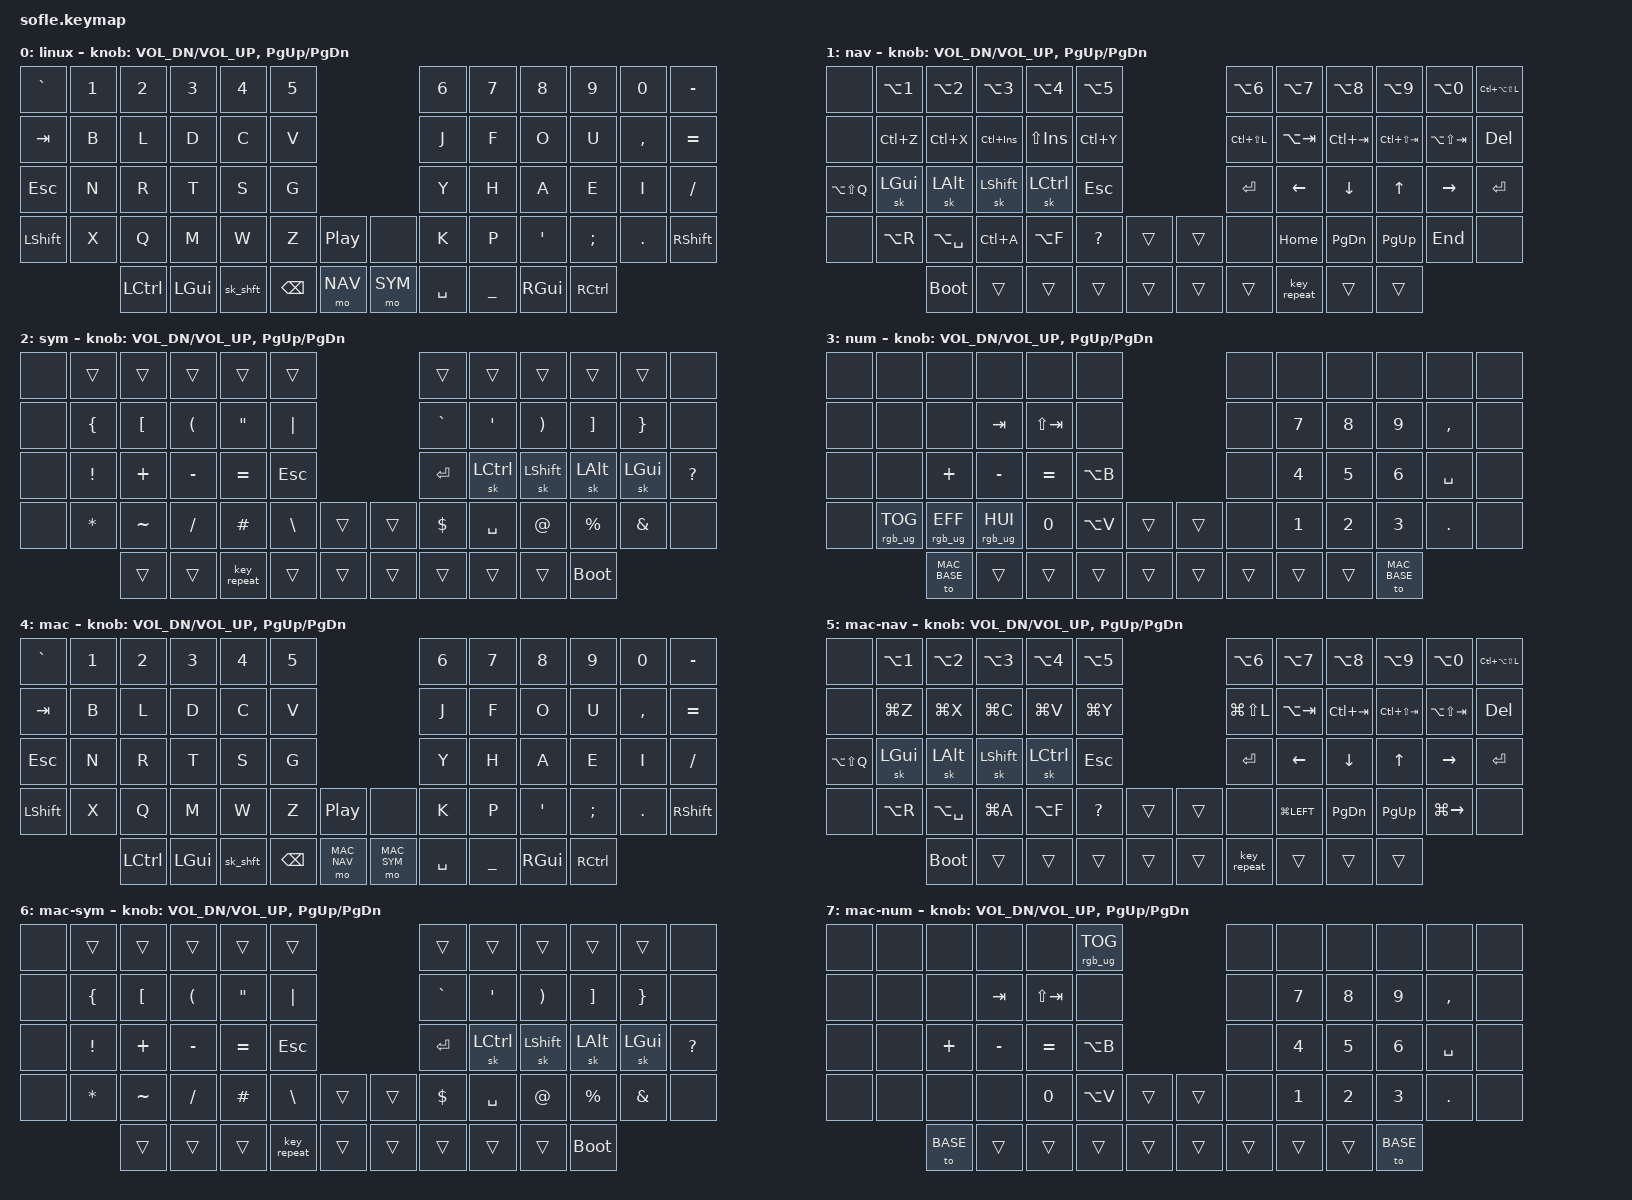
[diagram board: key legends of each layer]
/*
 * Copyright (c) 2020 The ZMK Contributors
 *
 * SPDX-License-Identifier: MIT
 */

#include <behaviors.dtsi>
#include <dt-bindings/zmk/keys.h>
#include <dt-bindings/zmk/bt.h>
#include <dt-bindings/zmk/rgb.h>
#include <dt-bindings/zmk/outputs.h>
#include <dt-bindings/zmk/ext_power.h>
#include <dt-bindings/zmk/backlight.h>
#include "zmk-helpers/key-labels/sofle.h"
#include "zmk-helpers/helper.h"

#define BASE 0
#define NAV 1
#define SYM 2
#define NUM 3
#define MAC_BASE 4
#define MAC_NAV 5
#define MAC_SYM 6
#define MAC_NUM 7

/*
  ╭────────────────────────────┬────────────────────────────╮ ╭─────────────────────────────┬─────────────────────────────╮
  │  0   1   2   3   4   5     │      6   7   8   9  10  11 │ │ LN5 LN4 LN3 LN2 LN1 LN0     │     RN0 RN1 RN2 RN3 RN4 RN5 │
  │ 12  13  14  15  16  17     │     18  19  20  21  22  23 │ │ LT5 LT4 LT3 LT2 LT1 LT0     │     RT0 RT1 RT2 RT3 RT4 RT5 │
  │ 24  25  26  27  28  29     │     30  31  32  33  34  35 │ │ LM5 LM4 LM3 LM2 LM1 LM0     │     RM0 RM1 RM2 RM3 RM4 RM5 │
  │ 36  37  38  39  40  41  42 │ 43  44  45  46  47  48  49 │ │ LB5 LB4 LB3 LB2 LB1 LB0 LEC │ REC RB0 RB1 RB2 RB3 RB4 RB5 │
  ╰───────╮ 50  51  52  53  54 │ 55  56  57  58  59 ╭───────╯ ╰───────╮ LH4 LH3 LH2 LH1 LH0 │ RH0 RH1 RH2 RH3 RH4 ╭───────╯
          ╰────────────────────┴────────────────────╯                 ╰─────────────────────┴─────────────────────╯         */


#define KEYS_L LN0 LN1 LN2 LN3 LN4 LN5 LT0 LT1 LT2 LT3 LT4 LT5 LM0 LM1 LM2 LM3 LM4 LM5 LB0 LB1 LB2 LB3 LB4 LB5 
#define KEYS_R RN0 RN1 RN2 RN3 RN4 RN5 RT1 RT1 RT2 RT3 RT4 RT5 RM0 RM1 RM2 RM3 RM4 RM5 RB0 RB1 RB2 RB3 RB4 RB5 
#define KEYS_THUMBS LH0 LH1 LH2 LH3 LH4 RH0 RH1 RH2 RH3 RH4 

&lt {
    tapping-term-ms = <200>;
    quick-tap-ms = <200>;
};

// Sticky key
&sk {
    release-after-ms = <3000>; // Default is at 1s.
    // Releasing the stiky key as soon as another key is pressed (instead of released). This
    // prevents having multiple letters capitalised in case of a fast roll for instance.
    quick-release;  
    // This is activated by default. The stiky behavior continues when a modifier key is
    // pressed. Allows to combine modifiers (a la Callum mods).
    ignore-modifiers;  
};

// Sticky layer
&sl {
    release-after-ms = <1000>;  // Default is at 1s.
};

#define COMBO_TIMEOUT 15
/ {
    combos {
        compatible = "zmk,combos";
        // Enter / escape
        combo_return_left_hand {
            timeout-ms = <COMBO_TIMEOUT>;
            key-positions = <LM0 LM1>;  // S + G on Gallium
            bindings = <&kp RET>;
        };
        combo_esc {
            timeout-ms = <COMBO_TIMEOUT>;
            key-positions = <LM1 LM2>;  // T + S on Gallium
            bindings = <&kp ESC>;
        };
    };
};

/ {
    macros {
    };
};

/ {
    conditional_layers {
        compatible = "zmk,conditional-layers";
        // Enabling the NUM layer via tri-layer functionality.
        // This allows a seamless navigation between the NAV, SYM and NUM layers.
        num_layer {
            if-layers = <NAV SYM>;
            then-layer = <NUM>;
        };
        // The MAC equivalent
        mac_num_layer {
            if-layers = <MAC_NAV MAC_SYM>;
            then-layer = <MAC_NUM>;
        };
    };
};

/ {
    
    behaviors {
        hml: home_row_mod_left {
            compatible = "zmk,behavior-hold-tap";
            #binding-cells = <2>;
            flavor = "balanced";
            tapping-term-ms = <280>;
            quick-tap-ms = <175>;
            require-prior-idle-ms = <150>;
            bindings = <&kp>, <&kp>;
            hold-trigger-key-positions = <KEYS_R KEYS_THUMBS>;
            hold-trigger-on-release;
        };

        hmr: home_row_mod_right {
            compatible = "zmk,behavior-hold-tap";
            #binding-cells = <2>;
            flavor = "balanced";
            tapping-term-ms = <280>;
            quick-tap-ms = <175>;
            require-prior-idle-ms = <150>;
            bindings = <&kp>, <&kp>;
            hold-trigger-key-positions = <KEYS_L KEYS_THUMBS>;
            hold-trigger-on-release;
        };

        sk_shft: shift_into_caps_word {
            compatible = "zmk,behavior-tap-dance";
            #binding-cells = <0>;
            tapping-term-ms = <200>;
            bindings = <&sk LSHFT>, <&caps_word>;
        };

        paren: lparen_into_rparen {
            compatible = "zmk,behavior-tap-dance";
            #binding-cells = <0>;
            tapping-term-ms = <200>;
            bindings = <&kp LEFT_PARENTHESIS>, <&kp RIGHT_PARENTHESIS>;
        };
    };

    keymap {
        compatible = "zmk,keymap";

        // BASE ------------------------------------------------------------------------------------------------------------------
        default_layer {
            display-name = "linux";bindings = <
/* 1 */   /* 2 */ /* 3 */   /* 4 */  /* 5 */  /* 6 */  /* 7 */ /* 8 */ /* 9 */   /* 10 */  /* 11 */ /* 12 */  /* 13 */  /* 14 */ 
&kp GRAVE &kp N1  &kp N2    &kp N3   &kp N4   &kp N5                   &kp N6    &kp N7    &kp N8   &kp N9    &kp N0    &kp MINUS
&kp TAB   &kp B   &kp L     &kp D    &kp C    &kp V                    &kp J     &kp F     &kp O    &kp U     &kp COMMA &kp EQUAL
&kp ESC   &kp N   &kp R     &kp T    &kp S    &kp G                    &kp Y     &kp H     &kp A    &kp E     &kp I     &kp FSLH 
&kp LSHFT &kp X   &kp Q     &kp M    &kp W    &kp Z    &kp C_PP   &none   &kp K     &kp P     &kp SQT  &kp SEMI  &kp DOT   &kp RSHFT
                  &kp LCTRL &kp LGUI &sk_shft &kp BSPC &mo NAV &mo SYM &kp SPACE &kp UNDER &kp RGUI &kp RCTRL                    
/* 1 */   /* 2 */ /* 3 */   /* 4 */  /* 5 */  /* 6 */  /* 7 */ /* 8 */ /* 9 */   /* 10 */  /* 11 */ /* 12 */  /* 13 */  /* 14 */ 
>;
            sensor-bindings = <&inc_dec_kp C_VOL_DN C_VOL_UP &inc_dec_kp PG_UP PG_DN>;
        };

        // NAV ------------------------------------------------------------------------------------------------------------------
        nav_layer {
            display-name = "nav";bindings = <
/* 1 */       /* 2 */    /* 3 */       /* 4 */    /* 5 */    /* 6 */    /* 7 */ /* 8 */ /* 9 */       /* 10 */    /* 11 */    /* 12 */        /* 13 */        /* 14 */         
&none         &kp LA(N1) &kp LA(N2)    &kp LA(N3) &kp LA(N4) &kp LA(N5)                 &kp LA(N6)    &kp LA(N7)  &kp LA(N8)  &kp LA(N9)      &kp LA(N0)      &kp LC(LA(LS(L)))
&none         &kp LC(Z)  &kp LC(X)     &kp LC(INS)  &kp LS(INS)  &kp LC(Y)                  &kp LC(LS(L)) &kp LA(TAB) &kp LC(TAB) &kp LC(LS(TAB)) &kp LA(LS(TAB)) &kp DEL          
&kp LA(LS(Q)) &sk LGUI   &sk LALT      &sk LSHFT  &sk LCTRL  &kp ESC                    &kp RET       &kp LEFT    &kp DOWN    &kp UP          &kp RIGHT       &kp RET          
&none         &kp LA(R)  &kp LA(SPACE) &kp LC(A)  &kp LA(F)  &kp QMARK      &trans  &trans  &none     &kp HOME    &kp PG_DN   &kp PG_UP       &kp END         &none            
                         &bootloader   &trans     &trans     &trans     &trans  &trans  &trans        &key_repeat &trans      &trans                                           
/* 1 */       /* 2 */    /* 3 */       /* 4 */    /* 5 */    /* 6 */    /* 7 */ /* 8 */ /* 9 */       /* 10 */    /* 11 */    /* 12 */        /* 13 */        /* 14 */         
>;
            sensor-bindings = <&inc_dec_kp C_VOL_DN C_VOL_UP &inc_dec_kp PG_UP PG_DN>;
        };

        // SYM ------------------------------------------------------------------------------------------------------------------
        sym_layer {
            display-name = "sym";bindings = <
/* 1 */ /* 2 */  /* 3 */   /* 4 */   /* 5 */     /* 6 */  /* 7 */ /* 8 */ /* 9 */   /* 10 */  /* 11 */  /* 12 */    /* 13 */ /* 14 */ 
&none   &trans   &trans    &trans    &trans      &trans                   &trans    &trans    &trans    &trans      &trans   &none    
&none   &kp LBRC &kp LBKT  &kp LPAR  &kp DQT     &kp PIPE                 &kp GRAVE &kp SQT   &kp RPAR  &kp RBKT    &kp RBRC &none    
&none   &kp EXCL &kp PLUS  &kp MINUS &kp EQUAL   &kp ESC                  &kp RET   &sk LCTRL &sk LSHFT &sk LALT    &sk LGUI &kp QMARK
&none   &kp STAR &kp TILDE &kp SLASH &kp HASH    &kp BSLH &trans  &trans  &kp DLLR  &kp SPACE &kp AT    &kp PRCNT   &kp AMPS &none    
                 &trans    &trans    &key_repeat &trans   &trans  &trans  &trans    &trans    &trans    &bootloader                   
/* 1 */ /* 2 */  /* 3 */   /* 4 */   /* 5 */     /* 6 */  /* 7 */ /* 8 */ /* 9 */   /* 10 */  /* 11 */  /* 12 */    /* 13 */ /* 14 */ 
>;
            sensor-bindings = <&inc_dec_kp C_VOL_DN C_VOL_UP &inc_dec_kp PG_UP PG_DN>;
        };

        // NUM ------------------------------------------------------------------------------------------------------------------
        num_layer {
            display-name = "num";bindings = <
/* 1 */ /* 2 */         /* 3 */         /* 4 */         /* 5 */     /* 6 */   /* 7 */ /* 8 */ /* 9 */ /* 10 */ /* 11 */ /* 12 */     /* 13 */  /* 14 */
&none   &none           &none           &none           &none       &none                     &none   &none    &none    &none        &none     &none   
&none   &none           &none           &kp TAB         &kp LS(TAB) &none                     &none   &kp N7   &kp N8   &kp N9       &kp COMMA &none   
&none   &none           &kp PLUS        &kp MINUS       &kp EQUAL   &kp LA(B)                 &none   &kp N4   &kp N5   &kp N6       &kp SPACE    &none   
&none   &rgb_ug RGB_TOG &rgb_ug RGB_EFF &rgb_ug RGB_HUI &kp N0       &kp LA(V) &trans  &trans  &none   &kp N1   &kp N2   &kp N3       &kp DOT   &none   
                        &to MAC_BASE    &trans          &trans      &trans    &trans  &trans  &trans  &trans   &trans   &to MAC_BASE                   
/* 1 */ /* 2 */         /* 3 */         /* 4 */         /* 5 */     /* 6 */   /* 7 */ /* 8 */ /* 9 */ /* 10 */ /* 11 */ /* 12 */     /* 13 */  /* 14 */
>;
            sensor-bindings = <&inc_dec_kp C_VOL_DN C_VOL_UP &inc_dec_kp PG_UP PG_DN>;
        };

        // MAC_BASE --------------------------------------------------------------------------------------------------------------
        mac_base_layer {
            display-name = "mac";bindings = <
/* 1 */   /* 2 */ /* 3 */   /* 4 */  /* 5 */  /* 6 */  /* 7 */     /* 8 */     /* 9 */   /* 10 */  /* 11 */ /* 12 */  /* 13 */  /* 14 */ 
&kp GRAVE &kp N1  &kp N2    &kp N3   &kp N4   &kp N5                           &kp N6    &kp N7    &kp N8   &kp N9    &kp N0    &kp MINUS
&kp TAB   &kp B   &kp L     &kp D    &kp C    &kp V                            &kp J     &kp F     &kp O    &kp U     &kp COMMA &kp EQUAL
&kp ESC   &kp N   &kp R     &kp T    &kp S    &kp G                            &kp Y     &kp H     &kp A    &kp E     &kp I     &kp FSLH 
&kp LSHFT &kp X   &kp Q     &kp M    &kp W    &kp Z    &kp C_PP       &none       &kp K     &kp P     &kp SQT  &kp SEMI  &kp DOT   &kp RSHFT
                  &kp LCTRL &kp LGUI &sk_shft &kp BSPC &mo MAC_NAV &mo MAC_SYM &kp SPACE &kp UNDER &kp RGUI &kp RCTRL                    
/* 1 */   /* 2 */ /* 3 */   /* 4 */  /* 5 */  /* 6 */  /* 7 */     /* 8 */     /* 9 */   /* 10 */  /* 11 */ /* 12 */  /* 13 */  /* 14 */ 
>;
            sensor-bindings = <&inc_dec_kp C_VOL_DN C_VOL_UP &inc_dec_kp PG_UP PG_DN>;
        };

        // MAC_NAV ------------------------------------------------------------------------------------------------------------------
        mac_nav_layer {
            display-name = "mac-nav";bindings = <
/* 1 */       /* 2 */    /* 3 */       /* 4 */    /* 5 */    /* 6 */    /* 7 */ /* 8 */ /* 9 */       /* 10 */      /* 11 */    /* 12 */        /* 13 */        /* 14 */         
&none         &kp LA(N1) &kp LA(N2)    &kp LA(N3) &kp LA(N4) &kp LA(N5)                 &kp LA(N6)    &kp LA(N7)    &kp LA(N8)  &kp LA(N9)      &kp LA(N0)      &kp LC(LA(LS(L)))
&none         &kp LG(Z)  &kp LG(X)     &kp LG(C)  &kp LG(V)  &kp LG(Y)                  &kp LG(LS(L)) &kp LA(TAB)   &kp LC(TAB) &kp LC(LS(TAB)) &kp LA(LS(TAB)) &kp DEL          
&kp LA(LS(Q)) &sk LGUI   &sk LALT      &sk LSHFT  &sk LCTRL  &kp ESC                    &kp RET       &kp LEFT      &kp DOWN    &kp UP          &kp RIGHT       &kp RET          
&none         &kp LA(R)  &kp LA(SPACE) &kp LG(A)  &kp LA(F)  &kp QMARK      &trans  &trans  &none     &kp LG(LEFT ) &kp PG_DN   &kp PG_UP       &kp LG(RIGHT)   &none            
                         &bootloader   &trans     &trans     &trans     &trans  &trans  &key_repeat   &trans        &trans      &trans                                           
/* 1 */       /* 2 */    /* 3 */       /* 4 */    /* 5 */    /* 6 */    /* 7 */ /* 8 */ /* 9 */       /* 10 */      /* 11 */    /* 12 */        /* 13 */        /* 14 */         
>;
            sensor-bindings = <&inc_dec_kp C_VOL_DN C_VOL_UP &inc_dec_kp PG_UP PG_DN>;
        };

        // MAC_SYM ------------------------------------------------------------------------------------------------------------------
        mac_sym_layer {
            display-name = "mac-sym";bindings = <
/* 1 */ /* 2 */  /* 3 */   /* 4 */   /* 5 */   /* 6 */     /* 7 */ /* 8 */ /* 9 */   /* 10 */  /* 11 */  /* 12 */    /* 13 */ /* 14 */ 
&none   &trans   &trans    &trans    &trans    &trans                      &trans    &trans    &trans    &trans      &trans   &none    
&none   &kp LBRC &kp LBKT  &kp LPAR  &kp DQT   &kp PIPE                    &kp GRAVE &kp SQT   &kp RPAR  &kp RBKT    &kp RBRC &none    
&none   &kp EXCL &kp PLUS  &kp MINUS &kp EQUAL &kp ESC                     &kp RET   &sk LCTRL &sk LSHFT &sk LALT    &sk LGUI &kp QMARK
&none   &kp STAR &kp TILDE &kp SLASH &kp HASH  &kp BSLH    &trans  &trans  &kp DLLR  &kp SPACE &kp AT    &kp PRCNT   &kp AMPS &none    
                 &trans    &trans    &trans    &key_repeat &trans  &trans  &trans    &trans    &trans    &bootloader                   
/* 1 */ /* 2 */  /* 3 */   /* 4 */   /* 5 */   /* 6 */     /* 7 */ /* 8 */ /* 9 */   /* 10 */  /* 11 */  /* 12 */    /* 13 */ /* 14 */ 
>;
            sensor-bindings = <&inc_dec_kp C_VOL_DN C_VOL_UP &inc_dec_kp PG_UP PG_DN>;
        };

        // MAC_NUM ------------------------------------------------------------------------------------------------------------------
        mac_num_layer {
            display-name = "mac-num";bindings = <
/* 1 */ /* 2 */  /* 3 */  /* 4 */   /* 5 */     /* 6 */         /* 7 */ /* 8 */ /* 9 */ /* 10 */ /* 11 */ /* 12 */ /* 13 */  /* 14 */
&none   &none    &none    &none     &none       &rgb_ug RGB_TOG                 &none   &none    &none    &none    &none     &none   
&none   &none    &none    &kp TAB   &kp LS(TAB) &none                           &none   &kp N7   &kp N8   &kp N9   &kp COMMA &none   
&none   &none    &kp PLUS &kp MINUS &kp EQUAL   &kp LA(B)                       &none   &kp N4   &kp N5   &kp N6   &kp SPACE    &none   
&none   &none    &none    &none     &kp N0       &kp LA(V)       &trans  &trans  &none   &kp N1   &kp N2   &kp N3   &kp DOT   &none   
                 &to BASE &trans    &trans      &trans          &trans  &trans  &trans  &trans   &trans   &to BASE                   
/* 1 */ /* 2 */  /* 3 */  /* 4 */   /* 5 */     /* 6 */         /* 7 */ /* 8 */ /* 9 */ /* 10 */ /* 11 */ /* 12 */ /* 13 */  /* 14 */
>;
            sensor-bindings = <&inc_dec_kp C_VOL_DN C_VOL_UP &inc_dec_kp PG_UP PG_DN>;
        };
    };
};
